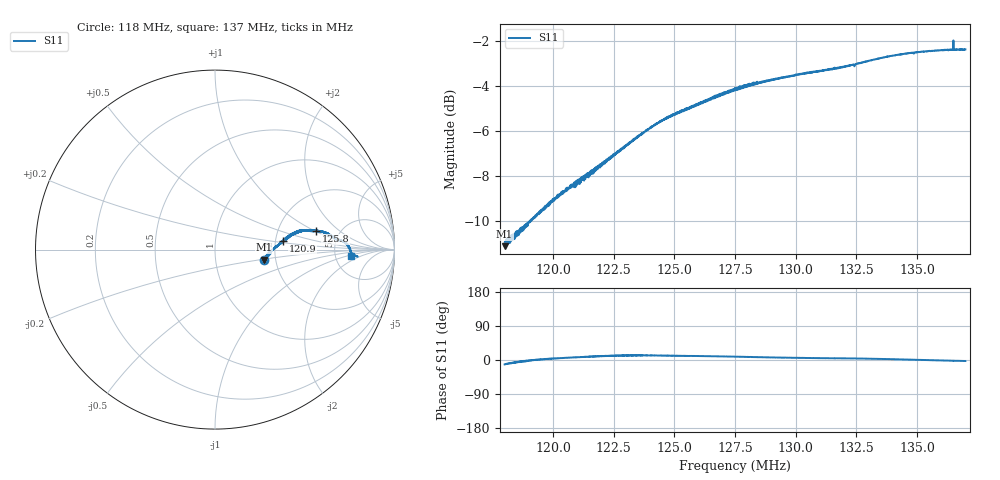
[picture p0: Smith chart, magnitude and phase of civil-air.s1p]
! Calibrated averaged scanner-service zoom
# Hz S RI R 50
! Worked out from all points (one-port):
!   2001 points, 118 MHz to 137 MHz, reference 50 ohm
!   lowest |S11| = -11.1 dB at 118 MHz (marker M1), VSWR 1.77, Z = 86.6 - j10.5 ohm
!   |S11| at or under -10 dB: start of sweep to 119.1 MHz
!   S11 on the Smith chart (normalised r, x): 118 MHz: 1.73, -0.21; 120.9 MHz: 2.22, +0.24; 125.8 MHz: 3.32, +1.03; 137 MHz: 7.16, -1.21
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1.18e8  0.2723 -0.0561
1.184845e8  0.2938 -0.0263
1.18988e8  0.3144 -0.00832
1.195865e8  0.3369 0.0138
1.20375e8  0.362 0.0324
1.208785e8  0.3815 0.0464
1.21781e8  0.4083 0.0696
1.2275e8  0.445 0.0897
1.23225e8  0.4622 0.1032
1.23814e8  0.4905 0.1073
1.24441e8  0.5161 0.1095
1.25125e8  0.5407 0.1083
1.25847e8  0.5623 0.1042
1.26626e8  0.5876 0.1029
1.275e8  0.6097 0.0957
1.28317e8  0.6345 0.0844
1.29875e8  0.6619 0.0683
1.31281e8  0.6829 0.0571
1.3225e8  0.7001 0.05
1.324875e8  0.7047 0.05
1.328105e8  0.7115 0.0469
1.33314e8  0.7223 0.0398
1.33941e8  0.7357 0.0289
1.34625e8  0.746 0.0146
1.35442e8  0.7536 -0.00263
1.364015e8  0.7598 -0.0232
1.364205e8  0.759 -0.0237
1.37e8  0.7602 -0.0356
